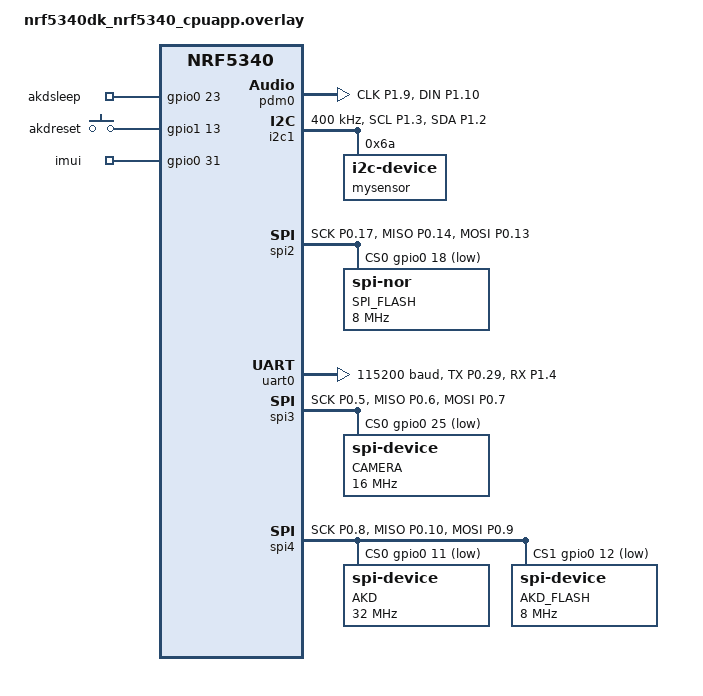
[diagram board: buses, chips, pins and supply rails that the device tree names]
&qspi {
    status = "disabled";
};
/* Disable default LEDs */
&led0 {
    status = "disabled";
};

&led1 {
    status = "disabled";
};

&led2 {
    status = "disabled";
};

&led3 {
    status = "disabled";
};

/* Disable default buttons */
&button0 {
    status = "disabled";
};

&button1 {
    status = "disabled";
};

&button2 {
    status = "disabled";
};

&button3 {
    status = "disabled";
};
&gpio_fwd {
    status = "disabled";
};

&pwm0 {
    status = "disabled";
};

/* Disable the entire gpio-keys and leds nodes if needed */
/ {
    buttons {
        status = "disabled";
    };
    
    leds {
        status = "disabled";
    };
};
&pinctrl {
    /* SPIM2 now drives the nRF storage flash (relocated off SPIM4 so the Akida
     * can take SPIM4). Same physical flash pins P0.17/13/14; standard drive and
     * <=8 MHz are plenty for littlefs storage. */
    spi2_default: spi2_default {
        group1 {
            psels = <NRF_PSEL(SPIM_SCK, 0, 17)>,
                    <NRF_PSEL(SPIM_MISO, 0, 14)>,
                    <NRF_PSEL(SPIM_MOSI, 0, 13)>;
        };
    };

    spi2_sleep: spi2_sleep {
        group1 {
            psels = <NRF_PSEL(SPIM_SCK, 0, 17)>,
                    <NRF_PSEL(SPIM_MISO, 0, 14)>,
                    <NRF_PSEL(SPIM_MOSI, 0, 13)>;
            low-power-enable;
        };
    };

	uart0_default_alt: uart0_default_alt {
      group1 {
         psels = <NRF_PSEL(UART_TX, 0, 29)>,
                 <NRF_PSEL(UART_RX, 1, 4)>;
      };
   };

   uart0_sleep_alt: uart0_sleep_alt {
      group1 {
         psels = <NRF_PSEL(UART_TX, 0, 29)>,
                 <NRF_PSEL(UART_RX, 1, 4)>;
         low-power-enable;
      };
   };	

   pdm0_default_alt: pdm0_default_alt {
		group1 {
			psels = <NRF_PSEL(PDM_CLK, 1, 9)>,
				    <NRF_PSEL(PDM_DIN, 1, 10)>;
		};
	};

    /omit-if-no-ref/ i2c1_default: i2c1_default {
		group1  {
			psels = <NRF_PSEL(TWIM_SCL, 1, 3)>,
					<NRF_PSEL(TWIM_SDA, 1, 2)>;
		};
	};

	/omit-if-no-ref/ i2c1_sleep: i2c1_sleep {
		group1  {
			psels = <NRF_PSEL(TWIM_SCL, 1, 3)>,
					<NRF_PSEL(TWIM_SDA, 1, 2)>;
			low-power-enable;
		};
	};
/* Use alternate SPI pins for camera on nRF5340 DK because P0.17/P0.13/P0.14 are occupied by onboard external flash */
    spi3_default: spi3_default {
		group1 {
				psels = <NRF_PSEL(SPIM_SCK, 0, 5)>,
                        <NRF_PSEL(SPIM_MISO, 0, 6)>,
                        <NRF_PSEL(SPIM_MOSI, 0, 7)>;
		};
	};

	spi3_sleep: spi3_sleep {
		group1 {
				psels = <NRF_PSEL(SPIM_SCK, 0, 5)>,
                        <NRF_PSEL(SPIM_MISO, 0, 6)>,
                        <NRF_PSEL(SPIM_MOSI, 0, 7)>;
				low-power-enable;
		};
	};
    /* Akida host SPI on SPIM4 (only nRF5340 instance that does >8 MHz).
     * P0.08=SCK, P0.09=MOSI, P0.10=MISO (MISO jumper moved P1.08 -> P0.10 for
     * SPIM4). HIGH DRIVE (H0H1) for clean SCK/MOSI edges at 16/32 MHz. */
    spi4_default: spi4_default {
		group1 {
				psels = <NRF_PSEL(SPIM_SCK, 0, 8)>,
						<NRF_PSEL(SPIM_MISO, 0, 10)>,
						<NRF_PSEL(SPIM_MOSI, 0, 9)>;
				nordic,drive-mode = <NRF_DRIVE_H0H1>;
		};
	};

	spi4_sleep: spi4_sleep {
		group1 {
				psels = <NRF_PSEL(SPIM_SCK, 0, 8)>,
						<NRF_PSEL(SPIM_MISO, 0, 10)>,
						<NRF_PSEL(SPIM_MOSI, 0, 9)>;
				low-power-enable;
		};
	};
	
};

/* PDM mic configurations */

&clock {
	hfclkaudio-frequency = <12288000>;
};

&pdm0 {
	status = "okay";
	clock-source = "ACLK";
};

dmic_dev: &pdm0 {
	status = "okay";
	pinctrl-0 = <&pdm0_default_alt>;
	pinctrl-names = "default";
	clock-source = "ACLK";
   
};
/ {
    chosen {
        nordic,pm-ext-flash = &ext_flash;
    };
};

&i2c1 {
    status = "okay";
    clock-frequency = <I2C_BITRATE_FAST>;   // 400 kHz
    pinctrl-0 = <&i2c1_default>;
	pinctrl-1 = <&i2c1_sleep>;
    pinctrl-names = "default", "sleep";
    mysensor: mysensor@6a{
        compatible = "i2c-device";
        status = "okay";
        reg = < 0x6a >;
    };
};


&ipc0 {
    status = "okay";
};


/* SPIM2 now hosts the nRF storage flash (moved here from SPIM4). */
&spi2 {
    compatible = "nordic,nrf-spim";
    status = "okay";
    pinctrl-0 = <&spi2_default>;
    pinctrl-1 = <&spi2_sleep>;
    pinctrl-names = "default", "sleep";
    cs-gpios = <&gpio0 18 GPIO_ACTIVE_LOW>;  /* CS for nRF storage flash */

    /* nRF storage flash (littlefs) at index 0 */
    ext_flash: flash@0 {
        compatible = "jedec,spi-nor";
        reg = <0>;
        spi-max-frequency = <8000000>;
        label = "SPI_FLASH";
        size = <DT_SIZE_M(64)>;
        jedec-id = [c2 28 17];
    };
};

&uart0 {
   status = "okay";
   compatible = "nordic,nrf-uarte";
   current-speed = <115200>;
   pinctrl-0 = <&uart0_default_alt>;
   pinctrl-1 = <&uart0_sleep_alt>;
   pinctrl-names = "default", "sleep";
};

&spi3 {
    compatible = "nordic,nrf-spim";
    status = "okay";
    pinctrl-0 = <&spi3_default>;
    pinctrl-1 = <&spi3_sleep>;
    pinctrl-names = "default", "sleep";
    cs-gpios = <&gpio0 25 GPIO_ACTIVE_LOW>; /*CS for camera*/
    /* camera device at index 0 */
    camera: camera@0 {
        compatible = "spi-device";
        reg = <0>;  /* Uses first CS pin (P0.25) */
        spi-max-frequency = <16000000>;
        label = "CAMERA";
    };
};
/* Akida moved onto SPIM4 (up to 32 MHz). Same akida bus, CS P0.11/P0.12. The
 * host clock is bounded by the AKD1500 SPI_S core clock (¼-rule, §3.7.1): needs
 * the SPI_S core on the 400 MHz PLL (akd_core_clock_to_pll, done at boot), else
 * it caps ~3-6 MHz on the reference/bypass clock. */
&spi4 {
    compatible = "nordic,nrf-spim";
    status = "okay";
    pinctrl-0 = <&spi4_default>;
    pinctrl-1 = <&spi4_sleep>;
    pinctrl-names = "default", "sleep";
    /* rx-delay=2 (MISO sample delay). The DK's long jumper wires add round-trip
     * delay vs the AkidaTag PCB, so the sampling eye sits later: HW-swept, 16 & 32
     * MHz read cleanly (0/500) at rxd 2-3 (AkidaTag used 1). NOTE: 4 & 8 MHz show
     * intermittent first-byte errors on the DK jumper wiring that no rxd fixes —
     * a DK signal-integrity artifact, not a chip limit. Use 16/32 MHz on the DK. */
    rx-delay = <2>;
    cs-gpios = <&gpio0 11 GPIO_ACTIVE_LOW>,  /* CS for AKIDA */
               <&gpio0 12 GPIO_ACTIVE_LOW>;  /* CS for AKIDA flash (S2M) */

    akd: akd@0 {
        compatible = "spi-device";
        reg = <0>;  /* Uses first CS pin (P0.11) */
        spi-max-frequency = <32000000>;
        label = "AKD";
    };

    /* W25Q128 flash accessed by the AKD1500 (S2M) */
    akd_flash: akd_flash@1 {
        compatible = "spi-device";  /* manual control */
        reg = <1>;  /* Uses second CS pin (P0.12) */
        spi-max-frequency = <8000000>;
        label = "AKD_FLASH";
    };
};
/ {
    aliases {
        watchdog = &wdt;
    };
};

/ {
    gpios {
		compatible = "gpio-keys";
		akdsleep: akdsleep {
			gpios = <&gpio0 23 GPIO_ACTIVE_HIGH>;
		};

        akdreset: akdreset {
			gpios = <&gpio1 13 GPIO_ACTIVE_HIGH>;
		};
	
        imui: imui {
			gpios = <&gpio0 31 GPIO_ACTIVE_HIGH>;
		};		
		
	};

    leds {
        compatible = "gpio-leds";

        led_red: led_red {
            gpios = <&gpio0 28 GPIO_ACTIVE_HIGH>;
        };

        led_green: led_green {
            gpios = <&gpio0 27 GPIO_ACTIVE_HIGH>;
        };
    };

    aliases {
        akdsleep = &akdsleep;
        akdreset = &akdreset;
        spi2 = &spi2;
        akd-spi = &spi4;   /* Akida SPI bus: SPIM4 (up to 32 MHz); storage flash moved to SPIM2 */
        imui = &imui;
    };
};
